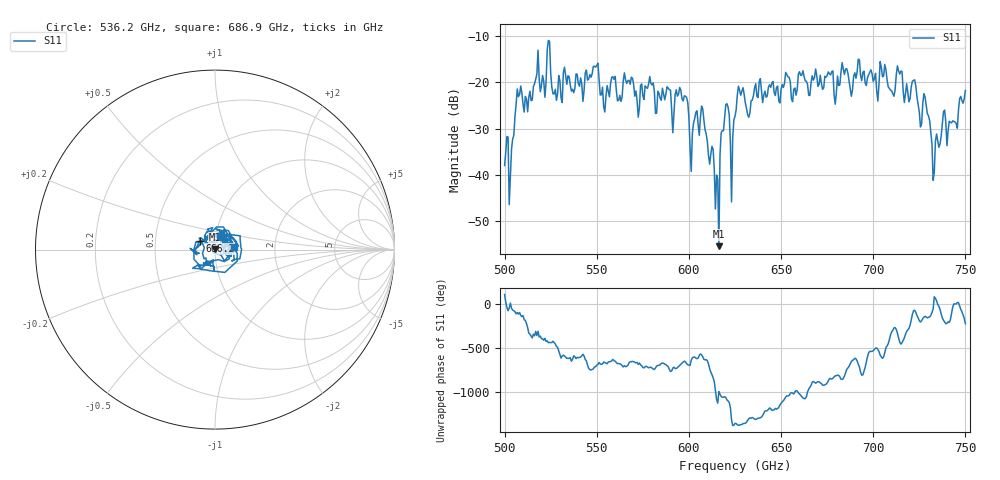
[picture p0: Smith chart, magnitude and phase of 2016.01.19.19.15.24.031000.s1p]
!Created with skrf (http://scikit-rf.org).
# GHz S RI R 50.0
!freq ReS11 ImS11
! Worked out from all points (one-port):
!   401 points, 500 GHz to 750 GHz, reference 50 ohm
!   lowest |S11| = -55.4 dB at 616.2 GHz (marker M1), VSWR 1.00, Z = 50 + j0.169 ohm
!   |S11| at or under -10 dB: start of sweep to end of sweep
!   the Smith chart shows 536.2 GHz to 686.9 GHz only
!   S11 on the Smith chart (normalised r, x): 536.2 GHz: 1.06, +0.16; 666.2 GHz: 0.84, +0.08; 686.9 GHz: 1.23, +0.03
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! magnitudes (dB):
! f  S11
! 500 GHz  -38.0
! 503.8 GHz  -34.5
! 508.1 GHz  -22.7
! 523.8 GHz  -11.0
! 526.9 GHz  -22.5
! 531.2 GHz  -24.4
! 536.2 GHz  -21.9
! 549.4 GHz  -16.8
! 553.1 GHz  -21.1
! 562.5 GHz  -22.8
! 593.8 GHz  -23.0
! 601.2 GHz  -39.3
! 607.5 GHz  -25.8
! 615 GHz  -40.0
! 616.2 GHz  -55.4
! 620 GHz  -24.9
! 623.1 GHz  -45.8
! 625 GHz  -27.4
! 628.1 GHz  -22.8
! 656.2 GHz  -24.2
! 666.2 GHz  -20.2
! 686.9 GHz  -19.7
! 687.5 GHz  -21.4
! 714.4 GHz  -18.3
! 718.8 GHz  -22.2
! 728.8 GHz  -25.0
! 733.1 GHz  -39.4
! 750 GHz  -21.8
